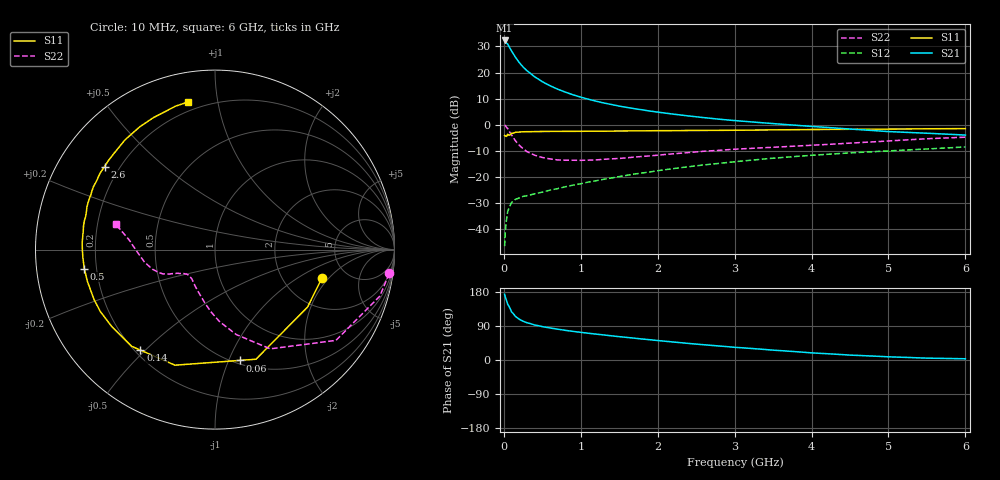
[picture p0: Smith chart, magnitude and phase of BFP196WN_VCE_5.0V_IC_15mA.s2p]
! Infineon Technologies  Discrete & RF Semiconductors
! BFP196WN
! VCE =  5.0 V,  IC =  15 mA
! Common Emitter S-Parameters:  Jan 2017
# GHz  S  MA  R  50
!  f  S11  S21  S12  S22
! GHz  MAG  ANG  MAG  ANG  MAG  ANG  MAG  ANG
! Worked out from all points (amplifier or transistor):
!   77 points, 10 MHz to 6 GHz, reference 50 ohm
!   highest |S21| = 32.3 dB at 10 MHz (marker M1)
!   |S21| within 3 dB of that: start of sweep to 79.82 MHz
!   unconditionally stable (mu >= 1): 991.6 MHz to 2.663 GHz
!   at 130 MHz: K = 0.25, MSG = 28.1 dB, |S12| = -29.3 dB
!   at 2.2 GHz: K = 1.04, MAG = 9.3 dB, |S12| = -17.0 dB
!   at 6 GHz: K = 0.88, MSG = 2.3 dB, |S12| = -8.6 dB
!   S11 on the Smith chart (normalised r, x): 10 MHz: 3.27, -1.69; 60 MHz: 0.53, -1.10; 140 MHz: 0.22, -0.48; 500 MHz: 0.15, -0.07; 2.6 GHz: 0.14, +0.33; 6 GHz: 0.15, +0.82
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0.01  0.6164 -15.1  41.29 173.6  0.0046 83.3  0.9797 -7.8
0.02  0.607 -31.8  39.28 165.7  0.0092 83.9  0.9541 -15.8
0.05  0.652 -69.5  35.25 147.2  0.0214 61.2  0.8425 -36.9
0.06  0.6326 -77.4  33.11 144.1  0.0233 57.6  0.7913 -40.6
0.1  0.6816 -109.1  25.94 126.8  0.0316 47.8  0.6327 -60.9
0.14  0.6974 -126.6  20.88 118.0  0.0354 41.5  0.5138 -72.2
0.15  0.711 -130.7  19.72 115.1  0.0364 40.1  0.4882 -75.9
0.2  0.7173 -143.2  15.54 107.6  0.0389 37.6  0.4005 -86.6
0.25  0.7263 -151.6  12.78 102.3  0.0417 36.8  0.3443 -94.2
0.3  0.729 -157.7  10.83 98.4  0.0429 37.6  0.3024 -100.8
0.4  0.7328 -166.1  8.266 92.4  0.0466 39.3  0.2576 -110.3
0.5  0.7358 -171.7  6.66 88.1  0.0503 42.7  0.2329 -118.0
0.7  0.7389 -179.7  4.779 81.4  0.0587 47.7  0.2089 -127.7
0.9  0.7406 174.3  3.725 75.5  0.0685 51.6  0.2061 -133.7
1.1  0.7445 169.6  3.06 70.6  0.0785 55.0  0.2071 -138.1
1.5  0.7518 161.7  2.263 61.6  0.0999 58.1  0.223 -144.0
2.1  0.7625 151.2  1.659 49.5  0.1358 59.6  0.2658 -149.8
2.6  0.7697 143.1  1.359 40.2  0.1673 58.6  0.307 -153.9
3.1  0.7784 135.4  1.161 32.2  0.1991 56.3  0.3415 -158.5
4.1  0.8034 120.2  0.9 17.7  0.262 49.8  0.4071 -172.3
5.1  0.8196 108.8  0.722 7.7  0.3169 42.3  0.4931 172.3
6  0.8356 100.5  0.627 3.2  0.3707 36.0  0.5711 165.8
